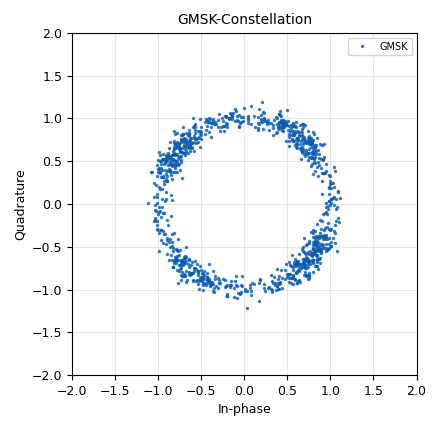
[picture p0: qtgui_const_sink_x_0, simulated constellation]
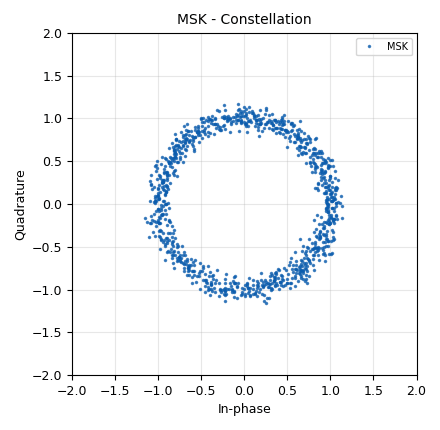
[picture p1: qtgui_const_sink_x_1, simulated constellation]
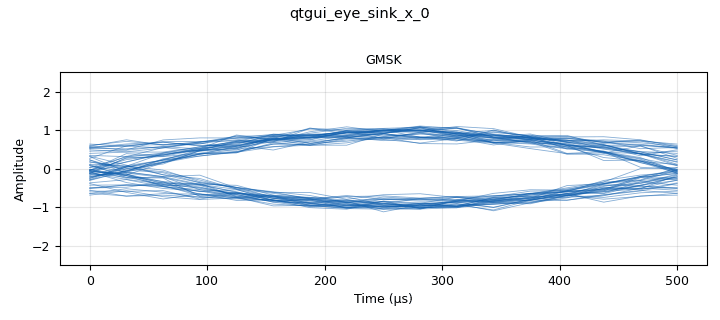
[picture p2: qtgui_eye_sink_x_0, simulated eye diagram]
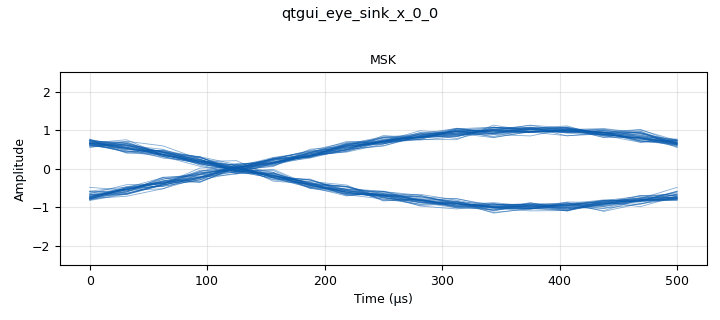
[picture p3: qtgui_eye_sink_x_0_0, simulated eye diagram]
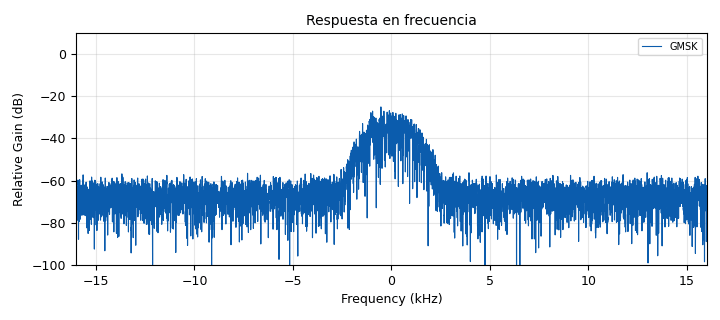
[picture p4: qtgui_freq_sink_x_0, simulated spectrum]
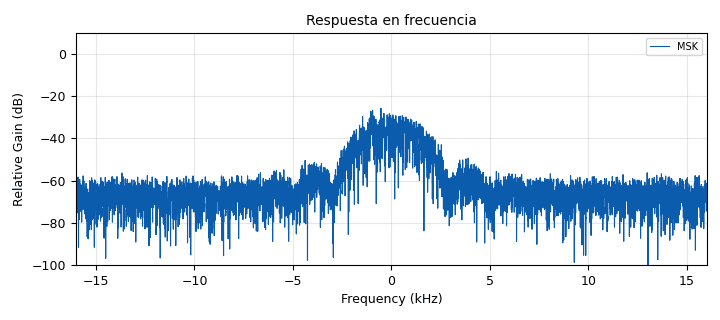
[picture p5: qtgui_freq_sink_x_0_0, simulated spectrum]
options:
  parameters:
    generate_options: qt_gui
    id: msk
    output_language: python
    title: Modulacion GMSK vs MSK
  states: {}

blocks:
- name: Noise_Amplitude
  id: variable_qtgui_range
  parameters:
    label: Amplitud del ruido
    min_len: '10'
    start: '0'
    step: '0.01'
    stop: '1'
    value: '0.1'
  states: {}
- name: samp_rate
  id: variable
  parameters:
    value: '32000'
  states: {}
- name: analog_random_source_x_0
  id: analog_random_source_x
  parameters:
    max: '2'
    min: '0'
    num_samps: '1000'
    repeat: 'True'
    type: byte
  states: {}
- name: blocks_complex_to_real_0
  id: blocks_complex_to_real
  parameters: {}
  states: {}
- name: blocks_complex_to_real_0_0
  id: blocks_complex_to_real
  parameters: {}
  states: {}
- name: channels_channel_model_0
  id: channels_channel_model
  parameters:
    alias: AWGN Channel 1
    epsilon: '1.0'
    freq_offset: '0.0'
    noise_voltage: Noise_Amplitude
    seed: '0'
    taps: '1.0'
  states: {}
- name: channels_channel_model_0_0
  id: channels_channel_model
  parameters:
    alias: AWGN Channel 2
    epsilon: '1.0'
    freq_offset: '0.0'
    noise_voltage: Noise_Amplitude
    seed: '0'
    taps: '1.0'
  states: {}
- name: digital_cpmmod_bc_0
  id: digital_cpmmod_bc
  parameters:
    L: '1'
    beta: '10000'
    mod_index: '0.5'
    samples_per_symbol: '8'
    type: analog.cpm.LREC
  states: {}
- name: digital_cpmmod_bc_0_0
  id: digital_cpmmod_bc
  parameters:
    L: '4'
    mod_index: '0.5'
    samples_per_symbol: '8'
    type: analog.cpm.GAUSSIAN
  states: {}
- name: digital_map_bb_0
  id: digital_map_bb
  parameters:
    map: '[-1,1]'
  states: {}
- name: qtgui_const_sink_x_0
  id: qtgui_const_sink_x
  parameters:
    gui_hint: qtgui_tab_widget_0_1
    label1: GMSK
    name: GMSK-Constellation
    size: '1024'
    type: complex
  states: {}
- name: qtgui_const_sink_x_1
  id: qtgui_const_sink_x
  parameters:
    gui_hint: qtgui_tab_widget_0_1
    label1: MSK
    name: MSK - Constellation
    size: '1024'
    type: complex
  states: {}
- name: qtgui_eye_sink_x_0
  id: qtgui_eye_sink_x
  parameters:
    alias: GMSK - ISI
    grid: 'True'
    gui_hint: qtgui_tab_widget_0_0
    label1: GMSK
    samp_per_symbol: '8'
    size: '1024'
    srate: samp_rate
    type: float
    ymax: '2.5'
    ymin: '-2.5'
    yunit: Eye sink GMSK
  states: {}
- name: qtgui_eye_sink_x_0_0
  id: qtgui_eye_sink_x
  parameters:
    alias: MSK - ISI
    color1: red
    grid: 'True'
    gui_hint: qtgui_tab_widget_0_0
    label1: MSK
    samp_per_symbol: '8'
    size: '1024'
    srate: samp_rate
    type: float
    ymax: '2.5'
    ymin: '-2.5'
    yunit: Eye sink MSK
  states: {}
- name: qtgui_freq_sink_x_0
  id: qtgui_freq_sink_x
  parameters:
    bw: samp_rate
    fc: '0'
    fftsize: '8192'
    grid: 'True'
    gui_hint: qtgui_tab_widget_0
    label1: GMSK
    name: Respuesta en frecuencia
    type: complex
    ymin: '-100'
  states: {}
- name: qtgui_freq_sink_x_0_0
  id: qtgui_freq_sink_x
  parameters:
    bw: samp_rate
    color1: '"red"'
    fc: '0'
    fftsize: '8192'
    grid: 'True'
    gui_hint: qtgui_tab_widget_0
    label1: MSK
    name: Respuesta en frecuencia
    type: complex
    ymin: '-100'
  states: {}
- name: qtgui_tab_widget_0
  id: qtgui_tab_widget
  parameters:
    label0: Frecuencia
    num_tabs: '1'
  states: {}
- name: qtgui_tab_widget_0_0
  id: qtgui_tab_widget
  parameters:
    label0: Eye Sink
    num_tabs: '1'
  states: {}
- name: qtgui_tab_widget_0_1
  id: qtgui_tab_widget
  parameters:
    label0: Eye Sink
    num_tabs: '1'
  states: {}

connections:
- [analog_random_source_x_0, '0', digital_map_bb_0, '0']
- [blocks_complex_to_real_0, '0', qtgui_eye_sink_x_0, '0']
- [blocks_complex_to_real_0_0, '0', qtgui_eye_sink_x_0_0, '0']
- [channels_channel_model_0, '0', blocks_complex_to_real_0, '0']
- [channels_channel_model_0, '0', qtgui_const_sink_x_0, '0']
- [channels_channel_model_0, '0', qtgui_freq_sink_x_0, '0']
- [channels_channel_model_0_0, '0', blocks_complex_to_real_0_0, '0']
- [channels_channel_model_0_0, '0', qtgui_const_sink_x_1, '0']
- [channels_channel_model_0_0, '0', qtgui_freq_sink_x_0_0, '0']
- [digital_cpmmod_bc_0, '0', channels_channel_model_0_0, '0']
- [digital_cpmmod_bc_0_0, '0', channels_channel_model_0, '0']
- [digital_map_bb_0, '0', digital_cpmmod_bc_0, '0']
- [digital_map_bb_0, '0', digital_cpmmod_bc_0_0, '0']

metadata:
  file_format: 1
  grc_version: 3.10.9.2
